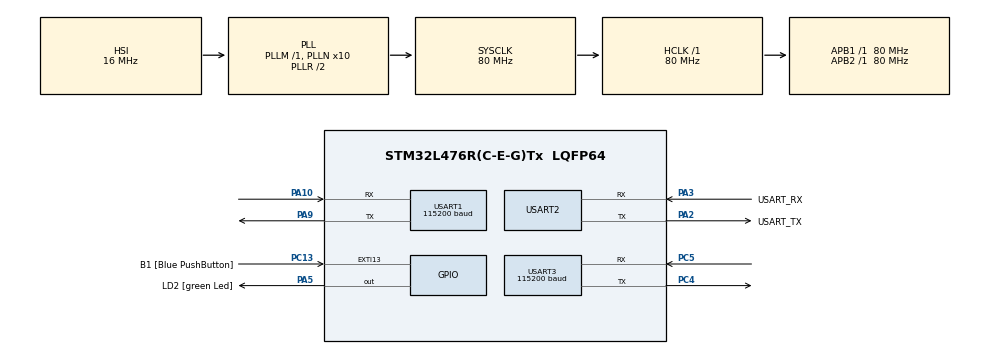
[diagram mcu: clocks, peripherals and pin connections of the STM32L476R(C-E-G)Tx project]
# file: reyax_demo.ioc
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FREERTOS.BinarySemaphores01=got_alpha_message,Dynamic,NULL,Available;got_beta_message,Dynamic,NULL,Available
FREERTOS.Tasks01=defaultTask,24,512,StartDefaultTask,Default,NULL,Dynamic,NULL,NULL;AlphaRXTask,8,512,GetAlphaRXTask,Default,NULL,Dynamic,NULL,NULL;BetaRXTask,8,512,GetBetaRXTask,Default,NULL,Dynamic,NULL,NULL
FREERTOS.configTOTAL_HEAP_SIZE=10000
FREERTOS.configUSE_NEWLIB_REENTRANT=1
Mcu.Family=STM32L4
Mcu.Name=STM32L476R(C-E-G)Tx
Mcu.Package=LQFP64
NVIC.PriorityGroup=NVIC_PRIORITYGROUP_4
NVIC.TIM8_UP_IRQn=true\:15\:0\:false\:false\:true\:false\:false\:true\:true
NVIC.TimeBase=TIM8_UP_IRQn
NVIC.TimeBaseIP=TIM8
NVIC.USART1_IRQn=true\:5\:0\:false\:false\:true\:true\:true\:true\:true
NVIC.USART3_IRQn=true\:5\:0\:false\:false\:true\:true\:true\:true\:true
PA10.Mode=Asynchronous
PA10.Signal=USART1_RX
PA13\ (JTMS-SWDIO).GPIO_Label=TMS
PA13\ (JTMS-SWDIO).Mode=Serial_Wire
PA13\ (JTMS-SWDIO).Signal=SYS_JTMS-SWDIO
PA14\ (JTCK-SWCLK).GPIO_Label=TCK
PA14\ (JTCK-SWCLK).Mode=Serial_Wire
PA14\ (JTCK-SWCLK).Signal=SYS_JTCK-SWCLK
PA2.GPIO_Label=USART_TX
PA2.GPIO_Mode=GPIO_MODE_AF_PP
PA2.GPIO_PuPd=GPIO_NOPULL
PA2.GPIO_Speed=GPIO_SPEED_FREQ_VERY_HIGH
PA2.Mode=Asynchronous
PA2.Signal=USART2_TX
PA3.GPIO_Label=USART_RX
PA3.GPIO_Mode=GPIO_MODE_AF_PP
PA3.GPIO_PuPd=GPIO_NOPULL
PA3.GPIO_Speed=GPIO_SPEED_FREQ_VERY_HIGH
PA3.Mode=Asynchronous
PA3.Signal=USART2_RX
PA5.GPIO_Label=LD2 [green Led]
PA5.GPIO_ModeDefaultOutputPP=GPIO_MODE_OUTPUT_PP
PA5.GPIO_PuPd=GPIO_NOPULL
PA5.GPIO_Speed=GPIO_SPEED_FREQ_LOW
PA5.Signal=GPIO_Output
PA9.Mode=Asynchronous
PA9.Signal=USART1_TX
PB3\ (JTDO-TRACESWO).GPIO_Label=SWO
PB3\ (JTDO-TRACESWO).Signal=SYS_JTDO-SWO
PC13.GPIO_Label=B1 [Blue PushButton]
PC13.GPIO_ModeDefaultEXTI=GPIO_MODE_IT_FALLING
PC13.GPIO_PuPd=GPIO_NOPULL
PC13.Signal=GPXTI13
PC14-OSC32_IN\ (PC14).Mode=LSE-External-Oscillator
PC14-OSC32_IN\ (PC14).Signal=RCC_OSC32_IN
PC15-OSC32_OUT\ (PC15).Mode=LSE-External-Oscillator
PC15-OSC32_OUT\ (PC15).Signal=RCC_OSC32_OUT
PC4.Mode=Asynchronous
PC4.Signal=USART3_TX
PC5.Mode=Asynchronous
PC5.Signal=USART3_RX
PH0-OSC_IN\ (PH0).Signal=RCC_OSC_IN
PH1-OSC_OUT\ (PH1).Signal=RCC_OSC_OUT
ProjectManager.HeapSize=0x200
ProjectManager.StackSize=0x400
ProjectManager.TargetToolchain=STM32CubeIDE
RCC.ADCFreq_Value=64000000
RCC.AHBFreq_Value=80000000
RCC.APB1Freq_Value=80000000
RCC.APB1TimFreq_Value=80000000
RCC.APB2Freq_Value=80000000
RCC.APB2TimFreq_Value=80000000
RCC.CortexFreq_Value=80000000
RCC.HCLKFreq_Value=80000000
RCC.HSE_VALUE=8000000
RCC.HSI_VALUE=16000000
RCC.MSI_VALUE=4000000
RCC.PLLN=10
RCC.PLLSourceVirtual=RCC_PLLSOURCE_HSI
RCC.PREFETCH_ENABLE=1
RCC.SYSCLKFreq_VALUE=80000000
RCC.SYSCLKSource=RCC_SYSCLKSOURCE_PLLCLK
RCC.USBFreq_Value=64000000
RCC.VCOOutputFreq_Value=160000000
USART1.BaudRate=115200
USART1.VirtualMode-Asynchronous=VM_ASYNC
USART2.VirtualMode-Asynchronous=VM_ASYNC
USART3.BaudRate=115200
USART3.VirtualMode-Asynchronous=VM_ASYNC
VP_FREERTOS_VS_CMSIS_V2.Mode=CMSIS_V2
VP_SYS_VS_tim8.Mode=TIM8
board=NUCLEO-L476RG

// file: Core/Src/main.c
/* USER CODE BEGIN Header */
/**
  ******************************************************************************
  * @file           : main.c
  * @brief          : Main program body
  ******************************************************************************
  * @attention
  *
  * Copyright (c) 2024 STMicroelectronics.
  * All rights reserved.
  *
  * This software is licensed under terms that can be found in the LICENSE file
  * in the root directory of this software component.
  * If no LICENSE file comes with this software, it is provided AS-IS.
  *
  ******************************************************************************
  */
/* USER CODE END Header */
#include "main.h"
#include "cmsis_os.h"

/* USER CODE BEGIN Includes */
/*** Globals *********/
#include <stdio.h>
#include <string.h>
#include "reyax_driver.h"
#define BUFFER_SIZE 50

/*  The network will be the same for these two devices
	The Network ID in LoRa communication, such as the one set by LoRa_SetNetworkID(15)
	is a parameter used to define a group of devices that can communicate with each
	other within a LoRa network.
*/
#define LoRa_NetworkID 13

#define alphaAddress 1
#define betaAddress 2

// Alpha and Beta are buffers for the two Reyax
char alphaRX_Buffer[BUFFER_SIZE]= {0};
char alphaTX_Buffer[BUFFER_SIZE]= {0};

char betaTX_Buffer[BUFFER_SIZE] = {0};
char betaRX_Buffer[BUFFER_SIZE] = {0};

// TTYRX_Buffer comes from the terminal console
char TTYRX_Buffer[BUFFER_SIZE] = {0};

UART_HandleTypeDef *alphaUART,*betaUART;

uint8_t alphaRX_Index = 0;  // Index for the buffer
uint8_t betaRX_Index = 0;  // Index for the buffer
uint8_t alphabyteReceived = 0; // Store the last received byte
uint8_t betabyteReceived = 0; // Store the last received byte

uint8_t recvd_data; // byte in from USART
MessageElement alpha_element,beta_element;

/* USER CODE END Includes */

UART_HandleTypeDef huart1;
UART_HandleTypeDef huart2;
UART_HandleTypeDef huart3;

/* Definitions for defaultTask */
osThreadId_t defaultTaskHandle;
const osThreadAttr_t defaultTask_attributes = {
  .name = "defaultTask",
  .stack_size = 512 * 4,
  .priority = (osPriority_t) osPriorityNormal,
};
/* Definitions for AlphaRXTask */
osThreadId_t AlphaRXTaskHandle;
const osThreadAttr_t AlphaRXTask_attributes = {
  .name = "AlphaRXTask",
  .stack_size = 512 * 4,
  .priority = (osPriority_t) osPriorityLow,
};
/* Definitions for BetaRXTask */
osThreadId_t BetaRXTaskHandle;
const osThreadAttr_t BetaRXTask_attributes = {
  .name = "BetaRXTask",
  .stack_size = 512 * 4,
  .priority = (osPriority_t) osPriorityLow,
};
/* Definitions for got_alpha_message */
osSemaphoreId_t got_alpha_messageHandle;
const osSemaphoreAttr_t got_alpha_message_attributes = {
  .name = "got_alpha_message"
};
/* Definitions for got_beta_message */
osSemaphoreId_t got_beta_messageHandle;
const osSemaphoreAttr_t got_beta_message_attributes = {
  .name = "got_beta_message"
};

void SystemClock_Config(void);
static void MX_GPIO_Init(void);
static void MX_USART2_UART_Init(void);
static void MX_USART1_UART_Init(void);
static void MX_USART3_UART_Init(void);
void StartDefaultTask(void *argument);
void GetAlphaRXTask(void *argument);
void GetBetaRXTask(void *argument);

/* USER CODE BEGIN 0 */
#define PUTCHAR_PROTOTYPE int __io_putchar(int ch)

void Read_and_Transmit_Task()
	{
	uint8_t receive_byte;
	uint8_t bytes_in =0;
	uint8_t xmitmsg[] = "\n\rInput Line to Send from Alpha ->";
	uint8_t sndmsg[] = "\n\rSending -> ";
	uint8_t *xmitmsg_ptr = xmitmsg;
	uint8_t *sndmsg_ptr = sndmsg;

		bytes_in = 0;
		receive_byte = 0;
		// Send out the
		HAL_UART_Transmit(&huart2, xmitmsg_ptr, 23, HAL_MAX_DELAY);

		/* This task reads a line from the Serial/USB port and
		 * transmits out to the REYAX using the drivers
		 * Note that this is polling!  One byte at a time.  Very inefficient
		 */
		while (receive_byte != '\r')
		{
			while (HAL_UART_Receive(&huart2, &receive_byte, 1,10) != HAL_OK) HAL_Delay(1);
			/* Now we have a byte, if it's a carriage return, send the string
			 * If not, put it on the buffer
			 */
			TTYRX_Buffer[bytes_in] = receive_byte;
			HAL_UART_Transmit(&huart2, (uint8_t*) &TTYRX_Buffer[bytes_in++] , 1, HAL_MAX_DELAY);  //echo each one as it's typed
		}

		TTYRX_Buffer[bytes_in++] = '\n'; // Add a line_feed
		// Tell the User what we got and what we're sending
		HAL_UART_Transmit(&huart2, sndmsg_ptr, 13, HAL_MAX_DELAY);
		//HAL_UART_Transmit(&huart2, receive_buffer_ptr, bytes_in, HAL_MAX_DELAY);
		HAL_UART_Transmit(&huart2, (uint8_t*) &TTYRX_Buffer, bytes_in, HAL_MAX_DELAY);

	}

/* USER CODE END 0 */

int main(void)
{

  /* MCU Configuration--------------------------------------------------------*/

  /* Reset of all peripherals, Initializes the Flash interface and the Systick. */
  HAL_Init();

  /* Configure the system clock */
  SystemClock_Config();

  /* Initialize all configured peripherals */
  MX_GPIO_Init();
  MX_USART2_UART_Init();
  MX_USART1_UART_Init();
  MX_USART3_UART_Init();
  /* USER CODE BEGIN 2 */

  alphaUART = &huart1;
  betaUART = &huart3;

  /* USER CODE END 2 */

  /* Init scheduler */
  osKernelInitialize();

  /* Create the semaphores(s) */
  /* creation of got_alpha_message */
  got_alpha_messageHandle = osSemaphoreNew(1, 0, &got_alpha_message_attributes);

  /* creation of got_beta_message */
  got_beta_messageHandle = osSemaphoreNew(1, 0, &got_beta_message_attributes);

  /* USER CODE BEGIN RTOS_QUEUES */
  /* For a normal example, wouldn't need both alpha and beta queues.  Each side is going to
   * have it's own processor and a single receive queue
   */

  /* USER CODE END RTOS_QUEUES */

  /* Create the thread(s) */
  /* creation of defaultTask */
  defaultTaskHandle = osThreadNew(StartDefaultTask, NULL, &defaultTask_attributes);

  /* creation of AlphaRXTask */
  AlphaRXTaskHandle = osThreadNew(GetAlphaRXTask, NULL, &AlphaRXTask_attributes);

  /* creation of BetaRXTask */
  BetaRXTaskHandle = osThreadNew(GetBetaRXTask, NULL, &BetaRXTask_attributes);

  /* USER CODE BEGIN RTOS_THREADS */
  /* creation of AlphaRXTask */
  AlphaRXTaskHandle = osThreadNew(GetAlphaRXTask, NULL, &AlphaRXTask_attributes);
  /* creation of BetaRXTask */
  BetaRXTaskHandle = osThreadNew(GetBetaRXTask, NULL, &BetaRXTask_attributes);
	/* add threads, ... */
  /* USER CODE END RTOS_THREADS */

  /* Start scheduler */
  osKernelStart();

  /* We should never get here as control is now taken by the scheduler */

  /* Infinite loop */
  while (1)
  {

  }
}

void SystemClock_Config(void)
{
  RCC_OscInitTypeDef RCC_OscInitStruct = {0};
  RCC_ClkInitTypeDef RCC_ClkInitStruct = {0};

  /** Configure the main internal regulator output voltage
  */
  if (HAL_PWREx_ControlVoltageScaling(PWR_REGULATOR_VOLTAGE_SCALE1) != HAL_OK)
  {
    Error_Handler();
  }

  /** Initializes the RCC Oscillators according to the specified parameters
  * in the RCC_OscInitTypeDef structure.
  */
  RCC_OscInitStruct.OscillatorType = RCC_OSCILLATORTYPE_HSI;
  RCC_OscInitStruct.HSIState = RCC_HSI_ON;
  RCC_OscInitStruct.HSICalibrationValue = RCC_HSICALIBRATION_DEFAULT;
  RCC_OscInitStruct.PLL.PLLState = RCC_PLL_ON;
  RCC_OscInitStruct.PLL.PLLSource = RCC_PLLSOURCE_HSI;
  RCC_OscInitStruct.PLL.PLLM = 1;
  RCC_OscInitStruct.PLL.PLLN = 10;
  RCC_OscInitStruct.PLL.PLLP = RCC_PLLP_DIV7;
  RCC_OscInitStruct.PLL.PLLQ = RCC_PLLQ_DIV2;
  RCC_OscInitStruct.PLL.PLLR = RCC_PLLR_DIV2;
  if (HAL_RCC_OscConfig(&RCC_OscInitStruct) != HAL_OK)
  {
    Error_Handler();
  }

  /** Initializes the CPU, AHB and APB buses clocks
  */
  RCC_ClkInitStruct.ClockType = RCC_CLOCKTYPE_HCLK|RCC_CLOCKTYPE_SYSCLK
                              |RCC_CLOCKTYPE_PCLK1|RCC_CLOCKTYPE_PCLK2;
  RCC_ClkInitStruct.SYSCLKSource = RCC_SYSCLKSOURCE_PLLCLK;
  RCC_ClkInitStruct.AHBCLKDivider = RCC_SYSCLK_DIV1;
  RCC_ClkInitStruct.APB1CLKDivider = RCC_HCLK_DIV1;
  RCC_ClkInitStruct.APB2CLKDivider = RCC_HCLK_DIV1;

  if (HAL_RCC_ClockConfig(&RCC_ClkInitStruct, FLASH_LATENCY_4) != HAL_OK)
  {
    Error_Handler();
  }
}

static void MX_USART1_UART_Init(void)
{

  huart1.Instance = USART1;
  huart1.Init.BaudRate = 115200;
  huart1.Init.WordLength = UART_WORDLENGTH_8B;
  huart1.Init.StopBits = UART_STOPBITS_1;
  huart1.Init.Parity = UART_PARITY_NONE;
  huart1.Init.Mode = UART_MODE_TX_RX;
  huart1.Init.HwFlowCtl = UART_HWCONTROL_NONE;
  huart1.Init.OverSampling = UART_OVERSAMPLING_16;
  huart1.Init.OneBitSampling = UART_ONE_BIT_SAMPLE_DISABLE;
  huart1.AdvancedInit.AdvFeatureInit = UART_ADVFEATURE_NO_INIT;
  if (HAL_UART_Init(&huart1) != HAL_OK)
  {
    Error_Handler();
  }

}

static void MX_USART2_UART_Init(void)
{

  huart2.Instance = USART2;
  huart2.Init.BaudRate = 115200;
  huart2.Init.WordLength = UART_WORDLENGTH_8B;
  huart2.Init.StopBits = UART_STOPBITS_1;
  huart2.Init.Parity = UART_PARITY_NONE;
  huart2.Init.Mode = UART_MODE_TX_RX;
  huart2.Init.HwFlowCtl = UART_HWCONTROL_NONE;
  huart2.Init.OverSampling = UART_OVERSAMPLING_16;
  huart2.Init.OneBitSampling = UART_ONE_BIT_SAMPLE_DISABLE;
  huart2.AdvancedInit.AdvFeatureInit = UART_ADVFEATURE_NO_INIT;
  if (HAL_UART_Init(&huart2) != HAL_OK)
  {
    Error_Handler();
  }

}

static void MX_USART3_UART_Init(void)
{

  huart3.Instance = USART3;
  huart3.Init.BaudRate = 115200;
  huart3.Init.WordLength = UART_WORDLENGTH_8B;
  huart3.Init.StopBits = UART_STOPBITS_1;
  huart3.Init.Parity = UART_PARITY_NONE;
  huart3.Init.Mode = UART_MODE_TX_RX;
  huart3.Init.HwFlowCtl = UART_HWCONTROL_NONE;
  huart3.Init.OverSampling = UART_OVERSAMPLING_16;
  huart3.Init.OneBitSampling = UART_ONE_BIT_SAMPLE_DISABLE;
  huart3.AdvancedInit.AdvFeatureInit = UART_ADVFEATURE_NO_INIT;
  if (HAL_UART_Init(&huart3) != HAL_OK)
  {
    Error_Handler();
  }

}

static void MX_GPIO_Init(void)
{
  GPIO_InitTypeDef GPIO_InitStruct = {0};

  /* GPIO Ports Clock Enable */
  __HAL_RCC_GPIOC_CLK_ENABLE();
  __HAL_RCC_GPIOH_CLK_ENABLE();
  __HAL_RCC_GPIOA_CLK_ENABLE();
  __HAL_RCC_GPIOB_CLK_ENABLE();

  /*Configure GPIO pin Output Level */
  HAL_GPIO_WritePin(LD2_GPIO_Port, LD2_Pin, GPIO_PIN_RESET);

  /*Configure GPIO pin : B1_Pin */
  GPIO_InitStruct.Pin = B1_Pin;
  GPIO_InitStruct.Mode = GPIO_MODE_IT_FALLING;
  GPIO_InitStruct.Pull = GPIO_NOPULL;
  HAL_GPIO_Init(B1_GPIO_Port, &GPIO_InitStruct);

  /*Configure GPIO pin : LD2_Pin */
  GPIO_InitStruct.Pin = LD2_Pin;
  GPIO_InitStruct.Mode = GPIO_MODE_OUTPUT_PP;
  GPIO_InitStruct.Pull = GPIO_NOPULL;
  GPIO_InitStruct.Speed = GPIO_SPEED_FREQ_LOW;
  HAL_GPIO_Init(LD2_GPIO_Port, &GPIO_InitStruct);

}

/* USER CODE BEGIN 4 */

/**
  * @brief  Retargets the C library printf function to the USART.
  * @param  None
  * @retval None
  */
PUTCHAR_PROTOTYPE
{
  /* Place your implementation of fputc here */
  /* e.g. write a character to the USART1 and Loop until the end of transmission */
  HAL_UART_Transmit(&huart2, (uint8_t *)&ch, 1, 0xFFFF);

  return ch;
}
/*          Interrupt service routine for UART RX
 *
 */

void HAL_UART_RxCpltCallback(UART_HandleTypeDef *huart)
	{
#define TERMINATION_CHAR '\r'
    if (huart == alphaUART)
    	{
        // Store the received byte in the buffer
    	if  (alphabyteReceived == TERMINATION_CHAR)
			{ // Don't store it, just put it all on the queue
            alpha_element = processReceivedData(alphaRX_Buffer);
			alphaRX_Index = 0;
			}
    	else
			{
			// HAL_UART_Transmit(&huart2, &alphabyteReceived, 1, HAL_MAX_DELAY);
			alphaRX_Buffer[alphaRX_Index++] = alphabyteReceived;
			HAL_UART_Receive_IT(alphaUART, &alphabyteReceived, 1);
			}
        }
    if (huart == betaUART)
    	{
        // Store the received byte in the buffer
    	if  (betabyteReceived == TERMINATION_CHAR)
			{
            beta_element = processReceivedData(betaRX_Buffer);
			betaRX_Index = 0;
			}
    	else
			{
			HAL_UART_Transmit(&huart2, &betabyteReceived, 1, HAL_MAX_DELAY);
			betaRX_Buffer[betaRX_Index++] = betabyteReceived;
			HAL_UART_Receive_IT(betaUART, &betabyteReceived, 1);
			betaRX_Index = 0;
			}
        }

	}

/* USER CODE END 4 */

void StartDefaultTask(void *argument)
{
  /* USER CODE BEGIN 5 */
  /* Infinite loop */
	printf("\033\143"); //Clear the terminal

	char from_alpha_message[] = "Hello from alpha";
	char from_beta_message[] = " Greetings from beta";

	MessageElement sample_from_alpha,sample_from_beta;

	sample_from_alpha.theType = OK_MSG;
	sample_from_beta.theType = OK_MSG;
	strncpy(sample_from_alpha.theBuffer, "Hello Alpha Sample Message", MAX_MESSAGE_LENGTH - 1);
	strncpy(sample_from_beta.theBuffer, "Greetings from beta", MAX_MESSAGE_LENGTH - 1);

    printf("Welcome to the REYAX Demo\n\r");

	sample_from_alpha.theType = ADDRESS_MSG;
	sample_from_beta.theType = ADDRESS_MSG;

// HAL_UART_Receive_IT(&huart1, &alphabyteReceived, 1); //start receiving messages before a command
// LoRa_SendCommand(alphaUART,"AT");

// setup the network and the address for both:
// Alpha
	LoRa_SetNetworkID(alpha, NETWORK_ID);
	LoRa_SetAddress(alpha, ALPHA_ADDRESS);
	LoRa_SetNetworkID(beta, NETWORK_ID);
	LoRa_SetAddress(beta, BETA_ADDRESS);

	HAL_UART_Receive_IT(betaUART, &betabyteReceived, 1); //start receiving messages before a command
	LoRa_SendMessage(alpha, betaAddress, from_alpha_message);
	HAL_UART_Receive_IT(alphaUART, &alphabyteReceived, 1); //start receiving messages before a command
	LoRa_SendMessage(beta, alphaAddress, from_beta_message);

	while(1);

// HAL_UART_Receive_IT(&huart3, &betabyteReceived, 1); //start receiving messages before a command
// LoRa_SendCommand(betaUART,"AT");

  for(;;)
  {
    osDelay(1);
  }
  /* USER CODE END 5 */
}

void GetAlphaRXTask(void *argument)
{
  /* USER CODE BEGIN GetAlphaRXTask */

  /* Infinite loop */
  for(;;)
	  {

	if (osSemaphoreAcquire(got_alpha_messageHandle, osWaitForever) != osOK) { printf("Couldnt get semaphore: %s\n", pcTaskGetName(NULL));}
			  // Process a message from the STM
			/*
			  printf("\n\rMessage from alpha \n   Received Message Type: %d, Content: %s\n",
			 alpha_element.theType, alpha_element.theBuffer);
			 */

		 osSemaphoreRelease(got_alpha_messageHandle);
		while (osSemaphoreGetCount(got_alpha_messageHandle) == 0) {osDelay(10);}
		osDelay(1);
	  }
  /* USER CODE END GetAlphaRXTask */
}

void GetBetaRXTask(void *argument)
{
  /* USER CODE BEGIN GetBetaRXTask */
  /* Infinite loop */
  for(;;)
	  {
	  // Wait for a message to be available
	osSemaphoreAcquire(got_beta_messageHandle,osWaitForever);  // Wait till theres a message
	  // Process a message from the STM
	/* printf("Message from beta \n   Received Message Type: %d, Content: %s\n",
		 beta_element.theType, beta_element.theBuffer);
		 */
	osSemaphoreRelease(got_beta_messageHandle);
		     // Semaphore is taken
	while (osSemaphoreGetCount(got_beta_messageHandle) == 0) {osDelay(10);}
	osDelay(1);
	  }
  /* USER CODE END GetBetaRXTask */
}

void HAL_TIM_PeriodElapsedCallback(TIM_HandleTypeDef *htim)
{
  if (htim->Instance == TIM8) {
    HAL_IncTick();
  }
}

void Error_Handler(void)
{
  __disable_irq();
  while (1)
  {
  }
}
